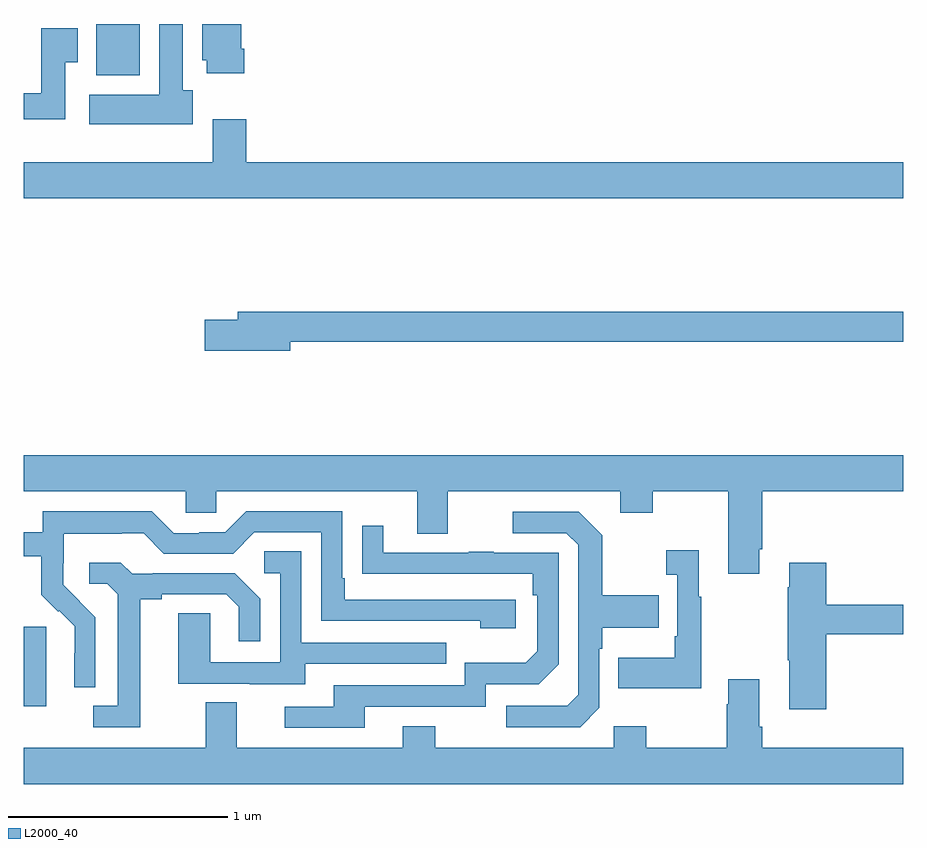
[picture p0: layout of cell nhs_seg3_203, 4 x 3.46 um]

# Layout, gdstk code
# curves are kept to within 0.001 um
import gdstk
lib = gdstk.Library(unit=1e-6, precision=1e-09)
def R(c, l, rs):  # rectangles x0, y0, x1, y1
    for r in rs: c.add(gdstk.rectangle(r[:2], r[2:], *l))
def P(c, l, *ps):  # polygons
    for p in ps: c.add(gdstk.Polygon(p, *l))
L2000_40 = (2000, 40)

nhs_seg3_203 = lib.new_cell('nhs_seg3_203')
R(nhs_seg3_203, L2000_40, [(121,673.298,121.102,673.659), (121.331,676.166,121.528,676.4)])
P(nhs_seg3_203, L2000_40, [(121.768,676.098),(121.723,676.098),(121.723,676.4),(121.616,676.4),(121.616,676.078),(121.299,676.078),(121.299,675.944),(121.768,675.944)],
  [(122.003,676.288),(121.99,676.288),(121.99,676.4),(121.811,676.4),(121.811,676.236),(121.832,676.236),(121.832,676.176),(122.003,676.176)],
  [(121.189,676.225),(121.246,676.225),(121.246,676.381),(121.079,676.381),(121.079,676.084),(121,676.084),(121,675.966),(121.189,675.966)],
  [(125,675.772),(122.012,675.772),(122.012,675.967),(121.859,675.967),(121.859,675.772),(121,675.772),(121,675.608),(125,675.608)],
  [(122.212,674.956),(125,674.956),(125,675.092),(121.973,675.092),(121.973,675.056),(121.824,675.056),(121.824,674.914),(122.212,674.914)],
  [(124.345,674.011),(124.358,674.011),(124.358,674.276),(125,674.276),(125,674.44),(121,674.44),(121,674.276),(121.737,674.276),(121.737,674.178),(121.875,674.178),(121.875,674.276),(122.789,674.276),(122.789,674.082),(122.929,674.082),(122.929,674.276),(123.713,674.276),(123.713,674.177),(123.861,674.177),(123.861,674.276),(124.205,674.276),(124.205,673.899),(124.345,673.899)],
  [(121.326,673.702),(121.18,673.85),(121.18,673.947),(121.182,673.947),(121.182,674.081),(121.445,674.081),(121.445,674.085),(121.545,674.085),(121.638,673.992),(121.953,673.992),(122.049,674.088),(122.352,674.088),(122.352,673.686),(123.077,673.686),(123.077,673.652),(123.238,673.652),(123.238,673.782),(122.461,673.782),(122.461,673.879),(122.448,673.879),(122.448,674.184),(122.013,674.184),(121.917,674.088),(121.799,674.088),(121.799,674.085),(121.683,674.085),(121.583,674.185),(121.086,674.185),(121.086,674.088),(121,674.088),(121,673.98),(121.081,673.98),(121.081,673.805),(121.158,673.728),(121.161,673.731),(121.232,673.661),(121.232,673.538),(121.23,673.538),(121.23,673.384),(121.326,673.384)],
  [(123.618,673.29),(123.618,673.559),(123.631,673.559),(123.631,673.655),(123.887,673.655),(123.887,673.803),(123.631,673.803),(123.631,674.075),(123.525,674.181),(123.225,674.181),(123.225,674.085),(123.468,674.085),(123.522,674.031),(123.522,673.35),(123.471,673.299),(123.195,673.299),(123.195,673.203),(123.531,673.203)],
  [(122.551,673.296),(123.102,673.296),(123.102,673.398),(123.342,673.398),(123.432,673.488),(123.432,673.995),(123.137,673.995),(123.137,674),(123.025,674),(123.025,673.995),(122.635,673.995),(122.635,674.119),(122.539,674.119),(122.539,673.9),(123.316,673.899),(123.316,673.802),(123.336,673.802),(123.336,673.548),(123.283,673.495),(123.006,673.495),(123.006,673.392),(122.411,673.392),(122.411,673.296),(122.187,673.296),(122.187,673.2),(122.551,673.2)],
  [(124.081,673.795),(124.069,673.795),(124.069,674.008),(123.921,674.008),(123.921,673.895),(123.972,673.895),(123.972,673.615),(123.96,673.615),(123.96,673.519),(123.703,673.519),(123.703,673.379),(124.081,673.379)],
  [(122.281,673.491),(122.921,673.491),(122.921,673.587),(122.262,673.587),(122.262,674.003),(122.094,674.003),(122.094,673.902),(122.166,673.902),(122.166,673.497),(121.848,673.497),(121.848,673.721),(121.703,673.721),(121.703,673.401),(122.027,673.401),(122.027,673.397),(122.281,673.397)],
  [(124.649,673.624),(125,673.624),(125,673.76),(124.649,673.76),(124.649,673.951),(124.481,673.951),(124.481,673.838),(124.474,673.838),(124.474,673.507),(124.481,673.507),(124.481,673.284),(124.649,673.284)],
  [(121.531,673.784),(121.627,673.784),(121.627,673.806),(121.922,673.806),(121.979,673.749),(121.979,673.593),(122.076,673.593),(122.076,673.786),(121.96,673.902),(121.588,673.902),(121.588,673.899),(121.494,673.899),(121.442,673.951),(121.299,673.951),(121.299,673.854),(121.38,673.854),(121.427,673.807),(121.427,673.299),(121.317,673.299),(121.317,673.203),(121.531,673.203)],
  [(125,673.108),(124.358,673.108),(124.358,673.204),(124.345,673.204),(124.345,673.42),(124.205,673.42),(124.205,673.307),(124.198,673.307),(124.198,673.108),(123.831,673.108),(123.831,673.207),(123.684,673.207),(123.684,673.108),(122.871,673.108),(122.871,673.207),(122.723,673.207),(122.723,673.108),(121.969,673.108),(121.969,673.316),(121.829,673.316),(121.829,673.108),(121,673.108),(121,672.944),(125,672.944)])

lib.write_gds('nhs_seg3_203.gds')
